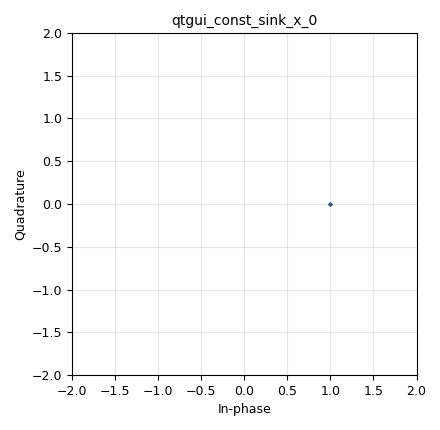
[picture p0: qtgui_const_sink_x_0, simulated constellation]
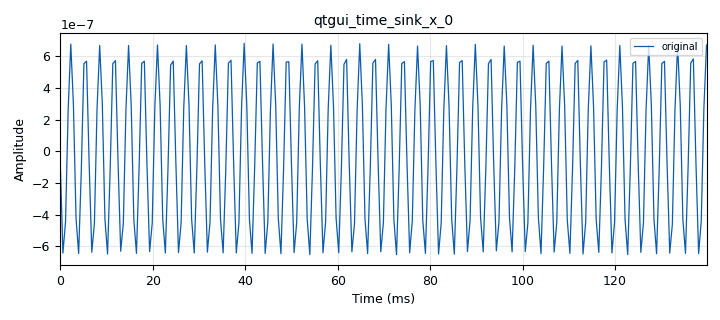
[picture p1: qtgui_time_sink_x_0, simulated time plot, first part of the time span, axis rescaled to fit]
<?xml version='1.0' encoding='utf-8'?>
<?grc format='1' created='3.7.13'?>
<flow_graph>
<block>
<key>options</key>
<param><key>id</key><value>top_block</value></param>
<param><key>generate_options</key><value>qt_gui</value></param>
<param><key>run</key><value>run_stop</value></param>
</block>
<block>
<key>variable</key>
<param><key>id</key><value>Ac</value></param>
<param><key>value</key><value>1.</value></param>
</block>
<block>
<key>variable</key>
<param><key>id</key><value>Am</value></param>
<param><key>value</key><value>10</value></param>
</block>
<block>
<key>variable</key>
<param><key>id</key><value>BW</value></param>
<param><key>value</key><value>2.*(DeltaF+fm)</value></param>
</block>
<block>
<key>variable</key>
<param><key>id</key><value>DeltaF</value></param>
<param><key>value</key><value>Kf*Am</value></param>
</block>
<block>
<key>variable</key>
<param><key>id</key><value>Kf</value></param>
<param><key>value</key><value>1.</value></param>
</block>
<block>
<key>variable</key>
<param><key>id</key><value>beta</value></param>
<param><key>value</key><value>DeltaF/fm</value></param>
</block>
<block>
<key>variable</key>
<param><key>id</key><value>fm</value></param>
<param><key>value</key><value>100.</value></param>
</block>
<block>
<key>variable_qtgui_check_box</key>
<param><key>id</key><value>run_stop</value></param>
<param><key>value</key><value>True</value></param>
<param><key>false</key><value>False</value></param>
<param><key>gui_hint</key><value>0,0,1,1</value></param>
<param><key>label</key><value>Inicial/Parar</value></param>
<param><key>true</key><value>True</value></param>
<param><key>type</key><value>int</value></param>
</block>
<block>
<key>variable</key>
<param><key>id</key><value>samp_rate</value></param>
<param><key>value</key><value>8*BW</value></param>
</block>
<block>
<key>analog_sig_source_x</key>
<param><key>id</key><value>analog_sig_source_x_1</value></param>
<param><key>amp</key><value>1</value></param>
<param><key>freq</key><value>1000</value></param>
<param><key>offset</key><value>0</value></param>
<param><key>type</key><value>float</value></param>
<param><key>samp_rate</key><value>samp_rate</value></param>
<param><key>waveform</key><value>analog.GR_COS_WAVE</value></param>
</block>
<block>
<key>blocks_multiply_const_vxx</key>
<param><key>id</key><value>blocks_multiply_const_vxx_0_0_0_1_0_0</value></param>
<param><key>const</key><value>2*math.pi/samp_rate</value></param>
<param><key>type</key><value>float</value></param>
</block>
<block>
<key>blocks_multiply_const_vxx</key>
<param><key>id</key><value>blocks_multiply_const_vxx_0_0_0_1_0_0_0</value></param>
<param><key>const</key><value>1.</value></param>
<param><key>type</key><value>float</value></param>
</block>
<block>
<key>blocks_throttle</key>
<param><key>id</key><value>blocks_throttle_0</value></param>
<param><key>samples_per_second</key><value>samp_rate</value></param>
<param><key>type</key><value>float</value></param>
</block>
<block>
<key>epy_block</key>
<param><key>id</key><value>e_Accum_ff</value></param>
<param><key>_source_code</key><value>"""
Embedded Python Blocks:

Each time this file is saved, GRC will instantiate the first class it finds
to get ports and parameters of your block. The arguments to __init__  will
be the parameters. All of them are required to have default values!
"""

import numpy as np
from gnuradio import gr


class blk(gr.sync_block):  # other base classes are basic_block, decim_block, interp_block
    """Hecho por Homoero Ortega. Es un acumulador puro, va acumulando cada muestra entrante mientras entrega lo que lleva acumulado hasta el momento. Puede convertirse en un integrador si la salida se divide en la frecuencia de muestreo de la senal"""

    def __init__(self):  # only default arguments here
        gr.sync_block.__init__(
            self,
            name='e_Accum_ff',   # will show up in GRC
            in_sig=[np.float32],
            out_sig=[np.float32]
        )
	self.memory=0.
    def work(self, input_items, output_items):
        """El acumulador"""
	in0=input_items[0]
	out0=output_items[0]
        L=len(in0)
	out0[:]=(self.memory+np.cumsum(in0))
	self.memory=out0[L-1]
        return len(out0)
</value></param>
</block>
<block>
<key>epy_block</key>
<param><key>id</key><value>e_VCO_fase_fc_0</value></param>
<param><key>Ac</key><value>Ac</value></param>
<param><key>_source_code</key><value>"""
Embedded Python Blocks:

Each time this file is saved, GRC will instantiate the first class it finds
to get ports and parameters of your block. The arguments to __init__  will
be the parameters. All of them are required to have default values!
"""

import numpy as np
from gnuradio import gr


class blk(gr.sync_block):  
    """Done by Homero Ortega Boada"""

    def __init__(self, Ac=1.):  # only default arguments here
        """arguments to this function show up as parameters in GRC"""
        gr.sync_block.__init__(
            self,
            name='e_VCO_fase_fc',   # will show up in GRC
            in_sig=[np.float32],
            out_sig=[np.complex64]
        )
        self.Ac = Ac
    def work(self, input_items, output_items):
	in0=input_items[0]
	out0=output_items[0]
        L=len(in0)
#	theta=2.*np.pi*in0
	theta=in0
	out0[:] = self.Ac*np.exp(1.j*theta)
	return len(out0)
</value></param>
</block>
<block>
<key>import</key>
<param><key>id</key><value>import_0</value></param>
<param><key>import</key><value>import math</value></param>
</block>
<block>
<key>qtgui_const_sink_x</key>
<param><key>id</key><value>qtgui_const_sink_x_0</value></param>
<param><key>size</key><value>10</value></param>
<param><key>type</key><value>complex</value></param>
<param><key>update_time</key><value>0.001</value></param>
</block>
<block>
<key>qtgui_time_sink_x</key>
<param><key>id</key><value>qtgui_time_sink_x_0</value></param>
<param><key>color1</key><value>"blue"</value></param>
<param><key>label1</key><value>original</value></param>
<param><key>size</key><value>1024</value></param>
<param><key>srate</key><value>samp_rate</value></param>
<param><key>type</key><value>float</value></param>
<param><key>update_time</key><value>0.001</value></param>
<param><key>ymax</key><value>Am*1.5</value></param>
<param><key>ymin</key><value>-Am*1.5</value></param>
</block>
<block>
<key>rational_resampler_xxx</key>
<param><key>id</key><value>rational_resampler_xxx_0</value></param>
<param><key>decim</key><value>100</value></param>
<param><key>interp</key><value>1</value></param>
<param><key>taps</key><value></value></param>
<param><key>type</key><value>fff</value></param>
</block>
<block>
<key>virtual_sink</key>
<param><key>id</key><value>vs_0_0_0</value></param>
<param><key>stream_id</key><value>P0</value></param>
</block>
<block>
<key>virtual_sink</key>
<param><key>id</key><value>vs_0_0_0_0</value></param>
<param><key>stream_id</key><value>P0a</value></param>
</block>
<block>
<key>virtual_sink</key>
<param><key>id</key><value>vs_0_0_1_0</value></param>
<param><key>stream_id</key><value>P5</value></param>
</block>
<block>
<key>virtual_source</key>
<param><key>id</key><value>vso_0_0_0_0_0</value></param>
<param><key>stream_id</key><value>P0</value></param>
</block>
<connection><source_block_id>analog_sig_source_x_1</source_block_id><sink_block_id>blocks_throttle_0</sink_block_id><source_key>0</source_key><sink_key>0</sink_key></connection>
<connection><source_block_id>blocks_multiply_const_vxx_0_0_0_1_0_0</source_block_id><sink_block_id>e_VCO_fase_fc_0</sink_block_id><source_key>0</source_key><sink_key>0</sink_key></connection>
<connection><source_block_id>blocks_multiply_const_vxx_0_0_0_1_0_0_0</source_block_id><sink_block_id>blocks_multiply_const_vxx_0_0_0_1_0_0</sink_block_id><source_key>0</source_key><sink_key>0</sink_key></connection>
<connection><source_block_id>blocks_multiply_const_vxx_0_0_0_1_0_0_0</source_block_id><sink_block_id>vs_0_0_0_0</sink_block_id><source_key>0</source_key><sink_key>0</sink_key></connection>
<connection><source_block_id>blocks_throttle_0</source_block_id><sink_block_id>e_Accum_ff</sink_block_id><source_key>0</source_key><sink_key>0</sink_key></connection>
<connection><source_block_id>blocks_throttle_0</source_block_id><sink_block_id>vs_0_0_0</sink_block_id><source_key>0</source_key><sink_key>0</sink_key></connection>
<connection><source_block_id>e_Accum_ff</source_block_id><sink_block_id>blocks_multiply_const_vxx_0_0_0_1_0_0_0</sink_block_id><source_key>0</source_key><sink_key>0</sink_key></connection>
<connection><source_block_id>e_VCO_fase_fc_0</source_block_id><sink_block_id>qtgui_const_sink_x_0</sink_block_id><source_key>0</source_key><sink_key>0</sink_key></connection>
<connection><source_block_id>e_VCO_fase_fc_0</source_block_id><sink_block_id>vs_0_0_1_0</sink_block_id><source_key>0</source_key><sink_key>0</sink_key></connection>
<connection><source_block_id>rational_resampler_xxx_0</source_block_id><sink_block_id>qtgui_time_sink_x_0</sink_block_id><source_key>0</source_key><sink_key>0</sink_key></connection>
<connection><source_block_id>vso_0_0_0_0_0</source_block_id><sink_block_id>rational_resampler_xxx_0</sink_block_id><source_key>0</source_key><sink_key>0</sink_key></connection>
</flow_graph>
